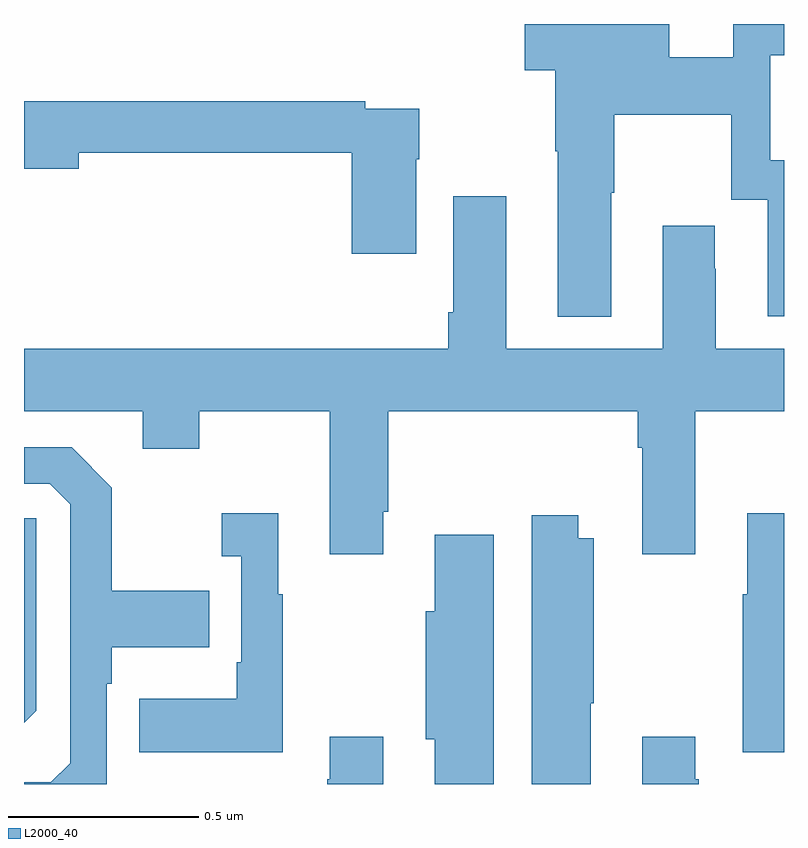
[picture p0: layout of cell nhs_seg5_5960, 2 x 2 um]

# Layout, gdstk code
import gdstk
lib = gdstk.Library(unit=1e-6, precision=1e-09)
def P(c, l, *ps):  # polygons
    for p in ps: c.add(gdstk.Polygon(p, *l))
L2000_40 = (2000, 40)

nhs_seg5_5960 = lib.new_cell('nhs_seg5_5960')
P(nhs_seg5_5960, L2000_40, [(191.545,837.355),(191.553,837.355),(191.553,837.56),(191.861,837.56),(191.861,837.336),(191.957,837.336),(191.957,837.03),(192,837.03),(192,837.441),(191.964,837.441),(191.964,837.717),(192,837.717),(192,837.799),(191.867,837.799),(191.867,837.712),(191.698,837.712),(191.698,837.799),(191.318,837.799),(191.318,837.677),(191.398,837.677),(191.398,837.464),(191.405,837.464),(191.405,837.029),(191.545,837.029)],
  [(191.032,837.443),(191.04,837.443),(191.04,837.576),(190.898,837.576),(190.898,837.596),(190,837.596),(190,837.418),(190.144,837.418),(190.144,837.46),(190.862,837.46),(190.862,837.195),(191.032,837.195)],
  [(190.945,836.515),(190.958,836.515),(190.958,836.78),(191.615,836.78),(191.615,836.684),(191.627,836.684),(191.627,836.403),(191.767,836.403),(191.767,836.78),(192,836.78),(192,836.944),(191.821,836.944),(191.821,837.155),(191.818,837.155),(191.818,837.268),(191.681,837.268),(191.681,836.944),(191.269,836.944),(191.269,837.346),(191.129,837.346),(191.129,837.04),(191.117,837.04),(191.117,836.944),(190,836.944),(190,836.78),(190.313,836.78),(190.313,836.681),(190.461,836.681),(190.461,836.78),(190.805,836.78),(190.805,836.403),(190.945,836.403)],
  [(190.218,836.063),(190.231,836.063),(190.231,836.159),(190.487,836.159),(190.487,836.307),(190.231,836.307),(190.231,836.579),(190.125,836.685),(190,836.685),(190,836.589),(190.068,836.589),(190.122,836.535),(190.122,835.854),(190.071,835.803),(190,835.803),(190,835.799),(190.218,835.799)],
  [(192,836.512),(191.903,836.512),(191.903,836.299),(191.892,836.299),(191.892,835.883),(192,835.883)],
  [(190.681,836.299),(190.669,836.299),(190.669,836.512),(190.521,836.512),(190.521,836.399),(190.572,836.399),(190.572,836.119),(190.56,836.119),(190.56,836.023),(190.303,836.023),(190.303,835.883),(190.681,835.883)],
  [(191.491,836.011),(191.499,836.011),(191.499,836.446),(191.458,836.446),(191.458,836.506),(191.336,836.506),(191.336,835.799),(191.491,835.799)],
  [(190.032,835.992),(190.032,836.499),(190,836.499),(190,835.96)],
  [(191.236,836.455),(191.081,836.455),(191.081,836.253),(191.057,836.253),(191.057,835.917),(191.081,835.917),(191.081,835.799),(191.236,835.799)],
  [(191.775,835.811),(191.767,835.811),(191.767,835.924),(191.627,835.924),(191.627,835.799),(191.775,835.799)],
  [(190.945,835.924),(190.805,835.924),(190.805,835.811),(190.798,835.811),(190.798,835.799),(190.945,835.799)])

lib.write_gds('nhs_seg5_5960.gds')
